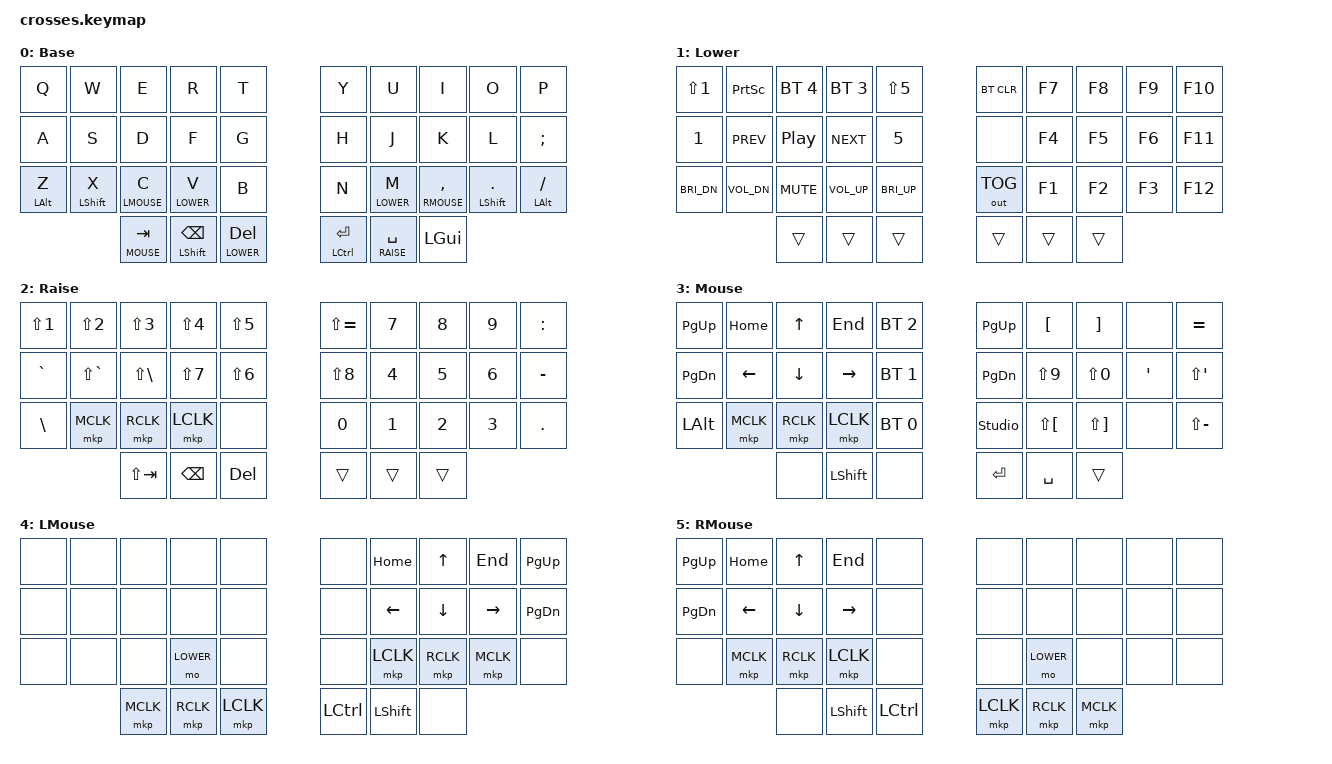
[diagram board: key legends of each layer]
/*
 * Crosses 35 dual-trackball keymap.
 *
 * No Q+W combo; ' stays on the Base right pinky (not swapped with ;, unlike Crosses 36).
 *
 * Bindings were exported from the keyboard's ZMK Studio state on 2026-10-10
 * (scripts/studio_dump.py -> scripts/studio_to_keymap.py; raw snapshot in
 * docs/studio-snapshots/). Studio-saved bindings in flash override this file
 * until "Restore Stock Settings" is run in ZMK Studio — see docs/flashing.md.
 */

#include <behaviors.dtsi>
#include <dt-bindings/zmk/bt.h>
#include <dt-bindings/zmk/keys.h>
#include <dt-bindings/zmk/outputs.h>
#include <dt-bindings/zmk/pointing.h>
#include <input/processors/rotate_plane.dtsi>

#define BASE  0
#define LOWER 1
#define RAISE 2
#define MOUSE  3
#define LMOUSE 4
#define RMOUSE 5

/*
 * Trackball behaviour by layer ("rot" = rotated, 0 deg = unrotated):
 *
 *   layer          right ball (central)          left ball (via split)
 *   Base           pointer, rot 45 CCW           vertical-only scroll, 0 deg
 *   Lower          vertical-only scroll, 0 deg   vertical-only scroll, 0 deg
 *   Raise          snipe (1/4), rot 45 CCW       horizontal-only scroll, rot 45 CW
 *   Mouse/RMouse   pointer, rot 45 CCW           vertical-only scroll, 0 deg
 *
 * Right-ball Lower scroll is Y-inverted; the left ball's plain scroll is not, because its sensor reads
 * both axes flipped (hardware tests, 2026-10-24/25).
 *   LMouse         pointer, rot 45 CCW           pointer, rot 45 CW (module angle 135, see below)
 *
 * The rotate-plane processors are separate devices, so each ball is a two-stage chain: a stage-1
 * listener (layer children choose whether to rotate or to short-circuit) and a stage-2 listener that
 * reads the rotated events and applies the layer behaviour. Module angle +45 = counterclockwise (what
 * the Crosses 36 repo calls -45); the left ball is the mirror image (-45) plus 180 deg because its sensor reads
 * both axes flipped relative to the right ball (hardware test, 2026-10-24) = 135.
 */

/* Right ball. Base: rotate -> stage 2. Lower: unrotated vertical scroll, no stage 2. */
&zip_rotate_pointer {
    angle = <45>;
};

&trackball_central_listener {
    input-processors = <&zip_rotate_pointer>;

    /* First match wins. Lower beats the mouse layers so holding a mouse layer-tap and then Lower scrolls. */
    lower_vscroll {
        layers = <LOWER>;
        input-processors = <&zip_x_scaler 0 1>, <&zip_xy_to_scroll_mapper>, <&zip_scroll_transform INPUT_TRANSFORM_Y_INVERT>, <&zip_scroll_scaler 1 32>, <&zip_ble_report_rate_limit>;
    };

    mouse_pointer {
        layers = <LMOUSE RMOUSE>;
        input-processors = <&zip_rotate_pointer>;
    };
};

/* Left ball: the left half only rate-limits and sends raw X/Y; everything else happens on the central. */
&trackball_peripheral_split {
    input-processors = <&zip_ble_report_rate_limit>;
};

/* Base/Lower/Mouse/RMouse: unrotated vertical-only scroll. LMouse and Raise: rotate -> stage 2. */
&trackball_peripheral_listener {
    input-processors = <&zip_x_scaler 0 1>, <&zip_xy_to_scroll_mapper>, <&zip_scroll_scaler 1 32>;

    /* Lower beats LMouse: hold C (LMouse), then V (Lower) to scroll with the left ball. */
    lower_scroll {
        layers = <LOWER>;
        input-processors = <&zip_x_scaler 0 1>, <&zip_xy_to_scroll_mapper>, <&zip_scroll_scaler 1 32>;
    };

    lmouse_rotate {
        layers = <LMOUSE>;
        input-processors = <&zip_rotate_left>;
    };

    raise_rotate {
        layers = <RAISE>;
        input-processors = <&zip_rotate_left>;
    };
};

/ {
    chosen { zmk,physical-layout = &gggw_crosses_36_layout; };

    /* Right ball stage 2: pointer by default, snipe on Raise. */
    rotated_pointer_listener {
        compatible = "zmk,input-listener";
        device = <&zip_rotate_pointer>;
        input-processors = <&zip_ble_report_rate_limit>;

        raise_snipe {
            layers = <RAISE>;
            input-processors = <&zip_xy_scaler 1 4>, <&zip_ble_report_rate_limit>;
        };
    };

    zip_rotate_left: zip_rotate_left {
        compatible = "zmk,input-processor-rotate-plane";
        device-name = "left";
        #input-processor-cells = <0>;
        type = <INPUT_EV_REL>;
        codes = <INPUT_REL_X INPUT_REL_Y>;
        angle = <135>; /* mirrored -45, plus 180: the left ball is mounted rotated 180 deg from the right one */
    };

    /* Left ball stage 2 (only LMouse and Raise get here): pointer by default, horizontal-only scroll on Raise. */
    left_ball_listener {
        compatible = "zmk,input-listener";
        device = <&zip_rotate_left>;

        raise_hscroll {
            layers = <RAISE>;
            input-processors = <&zip_y_scaler 0 1>, <&zip_xy_to_scroll_mapper>, <&zip_scroll_scaler 1 32>;
        };
    };

    /* J+K and D+F -> Esc ("just kidding"). Idle guard keeps fast rolls through the pairs from firing it. */
    combos {
        compatible = "zmk,combos";

        esc {
            bindings = <&kp ESCAPE>;
            key-positions = <16 17>;
            timeout-ms = <50>;
            require-prior-idle-ms = <150>;
        };

        esc_left {
            bindings = <&kp ESCAPE>;
            key-positions = <12 13>;
            timeout-ms = <50>;
            require-prior-idle-ms = <150>;
        };
    };

    keymap {
        compatible = "zmk,keymap";

        default_layer {
            display-name = "Base";
            bindings = <
&kp Q       &kp W        &kp E         &kp R        &kp T  &kp Y  &kp U        &kp I             &kp O          &kp P
&kp A       &kp S        &kp D         &kp F        &kp G  &kp H  &kp J        &kp K             &kp L          &kp SEMI
&mt LALT Z  &mt LSHFT X  &lt LMOUSE C  &lt LOWER V  &kp B  &kp N  &lt LOWER M  &lt RMOUSE COMMA  &mt LSHFT DOT  &mt LALT FSLH
                         &lt MOUSE TAB  &mt LSHFT BSPC  &lt LOWER DEL  &mt LCTRL RET  &lt RAISE SPACE  &kp LGUI
            >;
        };

        lower_layer {
            display-name = "Lower";
            bindings = <
&kp LS(N1)    &kp PSCRN     &bt BT_SEL 4  &bt BT_SEL 3  &kp LS(N5)    &bt BT_CLR    &kp F7  &kp F8  &kp F9  &kp F10
&kp N1        &kp C_PREV    &kp C_PP      &kp C_NEXT    &kp N5        &none         &kp F4  &kp F5  &kp F6  &kp F11
&kp C_BRI_DN  &kp C_VOL_DN  &kp C_MUTE    &kp C_VOL_UP  &kp C_BRI_UP  &out OUT_TOG  &kp F1  &kp F2  &kp F3  &kp F12
                            &trans  &trans  &trans  &trans  &trans  &trans
            >;
        };

        raise_layer {
            display-name = "Raise";
            bindings = <
&kp LS(N1)  &kp LS(N2)     &kp LS(N3)    &kp LS(N4)  &kp LS(N5)  &kp LS(EQUAL)  &kp N7  &kp N8  &kp N9  &kp COLON
&kp GRAVE   &kp LS(GRAVE)  &kp LS(BSLH)  &kp LS(N7)  &kp LS(N6)  &kp LS(N8)     &kp N4  &kp N5  &kp N6  &kp MINUS
&kp BSLH    &mkp MCLK      &mkp RCLK     &mkp LCLK   &none       &kp N0         &kp N1  &kp N2  &kp N3  &kp DOT
                           &kp LS(TAB)  &kp BSPC  &kp DEL  &trans  &trans  &trans
            >;
        };

        mouse_layer {
            display-name = "Mouse";
            bindings = <
&kp PG_UP  &kp HOME   &kp UP     &kp END    &bt BT_SEL 2  &kp PG_UP       &kp LBKT      &kp RBKT      &none    &kp EQUAL
&kp PG_DN  &kp LEFT   &kp DOWN   &kp RIGHT  &bt BT_SEL 1  &kp PG_DN       &kp LS(N9)    &kp LS(N0)    &kp SQT  &kp LS(SQT)
&kp LALT   &mkp MCLK  &mkp RCLK  &mkp LCLK  &bt BT_SEL 0  &studio_unlock  &kp LS(LBKT)  &kp LS(RBKT)  &none    &kp LS(MINUS)
                      &none  &kp LSHFT  &none  &kp RET  &kp SPACE  &trans
            >;
        };

        lmouse_layer {
            display-name = "LMouse";
            bindings = <
&none  &none  &none  &none      &none  &none  &kp HOME   &kp UP     &kp END    &kp PG_UP
&none  &none  &none  &none      &none  &none  &kp LEFT   &kp DOWN   &kp RIGHT  &kp PG_DN
&none  &none  &none  &mo LOWER  &none  &none  &mkp LCLK  &mkp RCLK  &mkp MCLK  &none
              &mkp MCLK  &mkp RCLK  &mkp LCLK  &kp LCTRL  &kp LSHFT  &none
            >;
        };

        rmouse_layer {
            display-name = "RMouse";
            bindings = <
&kp PG_UP  &kp HOME   &kp UP     &kp END    &none  &none  &none      &none  &none  &none
&kp PG_DN  &kp LEFT   &kp DOWN   &kp RIGHT  &none  &none  &none      &none  &none  &none
&none      &mkp MCLK  &mkp RCLK  &mkp LCLK  &none  &none  &mo LOWER  &none  &none  &none
                      &none  &kp LSHFT  &kp LCTRL  &mkp LCLK  &mkp RCLK  &mkp MCLK
            >;
        };
    };
};
